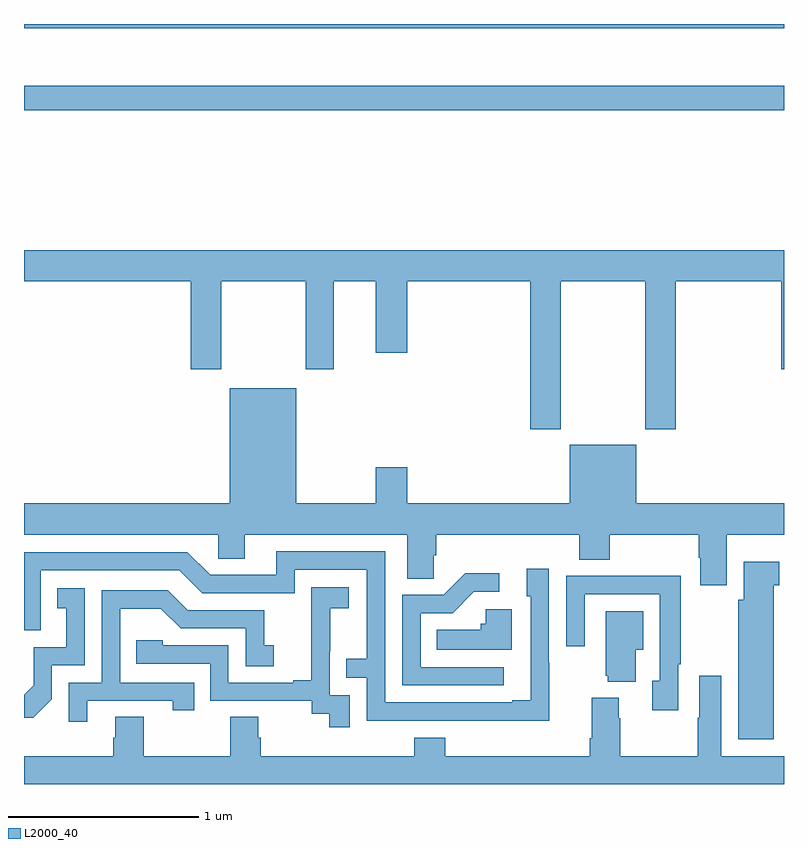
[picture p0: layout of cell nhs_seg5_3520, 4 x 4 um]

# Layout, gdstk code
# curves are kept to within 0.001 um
import gdstk
lib = gdstk.Library(unit=1e-6, precision=1e-09)
def R(c, l, rs):  # rectangles x0, y0, x1, y1
    for r in rs: c.add(gdstk.rectangle(r[:2], r[2:], *l))
def P(c, l, *ps):  # polygons
    for p in ps: c.add(gdstk.Polygon(p, *l))
L2000_40 = (2000, 40)

nhs_seg5_3520 = lib.new_cell('nhs_seg5_3520')
R(nhs_seg5_3520, L2000_40, [(319,840.346,323,840.475), (319,840.776,323,840.799)])
P(nhs_seg5_3520, L2000_40, [(321.825,839.444),(322.27,839.444),(322.27,838.665),(322.43,838.665),(322.43,839.444),(322.985,839.444),(322.985,838.983),(323,838.983),(323,839.608),(319,839.608),(319,839.444),(319.877,839.444),(319.877,838.983),(320.037,838.983),(320.037,839.444),(320.482,839.444),(320.482,838.983),(320.629,838.983),(320.629,839.444),(320.852,839.444),(320.852,839.07),(321.016,839.07),(321.016,839.444),(321.665,839.444),(321.665,838.665),(321.825,838.665)],
  [(322.699,838.112),(323,838.112),(323,838.276),(322.222,838.276),(322.222,838.585),(321.872,838.585),(321.872,838.276),(321.016,838.276),(321.016,838.465),(320.852,838.465),(320.852,838.276),(320.434,838.276),(320.434,838.882),(320.084,838.882),(320.084,838.276),(319,838.276),(319,838.112),(320.022,838.112),(320.022,837.985),(320.161,837.985),(320.161,838.112),(321.017,838.112),(321.017,837.88),(321.156,837.88),(321.156,838.003),(321.17,838.003),(321.17,838.112),(321.923,838.112),(321.923,837.979),(322.083,837.979),(322.083,838.112),(322.552,838.112),(322.552,837.991),(322.559,837.991),(322.559,837.846),(322.699,837.846)],
  [(321.765,837.437),(321.762,837.437),(321.762,837.931),(321.647,837.931),(321.647,837.786),(321.666,837.786),(321.666,837.241),(321.569,837.241),(321.569,837.228),(320.901,837.228),(320.901,838.023),(320.327,838.023),(320.327,837.9),(319.98,837.9),(319.86,838.02),(319,838.02),(319,837.609),(319.089,837.609),(319.089,837.924),(319.818,837.924),(319.938,837.804),(320.424,837.804),(320.424,837.927),(320.805,837.927),(320.805,837.458),(320.695,837.458),(320.695,837.357),(320.805,837.357),(320.805,837.132),(321.765,837.131)],
  [(322.945,837.845),(322.975,837.845),(322.975,837.97),(322.787,837.97),(322.787,837.768),(322.76,837.768),(322.76,837.035),(322.945,837.035)],
  [(321.526,837.414),(321.087,837.414),(321.087,837.699),(321.256,837.699),(321.367,837.81),(321.502,837.81),(321.502,837.908),(321.323,837.908),(321.21,837.795),(320.991,837.795),(320.991,837.318),(321.526,837.318)],
  [(322.443,837.43),(322.456,837.43),(322.456,837.896),(322.171,837.896),(322.171,837.894),(321.855,837.894),(321.855,837.525),(321.951,837.525),(321.951,837.798),(322.347,837.798),(322.347,837.342),(322.307,837.342),(322.307,837.186),(322.443,837.186)],
  [(320.715,837.267),(320.61,837.267),(320.61,837.497),(320.612,837.497),(320.612,837.725),(320.71,837.725),(320.71,837.835),(320.512,837.835),(320.512,837.629),(320.513,837.629),(320.513,837.346),(320.417,837.346),(320.417,837.333),(320.076,837.333),(320.076,837.528),(319.731,837.528),(319.731,837.555),(319.591,837.555),(319.591,837.432),(319.98,837.432),(319.98,837.237),(320.514,837.237),(320.514,837.169),(320.607,837.169),(320.607,837.099),(320.715,837.099)],
  [(319.146,837.246),(319.146,837.423),(319.32,837.423),(319.32,837.829),(319.174,837.829),(319.174,837.723),(319.223,837.723),(319.223,837.519),(319.05,837.519),(319.05,837.318),(319,837.268),(319,837.149),(319.048,837.149)],
  [(319.333,837.237),(319.784,837.237),(319.784,837.186),(319.895,837.186),(319.895,837.333),(319.506,837.333),(319.506,837.722),(319.72,837.722),(319.824,837.618),(320.166,837.618),(320.166,837.42),(320.314,837.42),(320.314,837.529),(320.265,837.529),(320.265,837.714),(319.861,837.714),(319.756,837.819),(319.41,837.819),(319.41,837.333),(319.236,837.333),(319.236,837.126),(319.333,837.126)],
  [(321.568,837.718),(321.429,837.718),(321.429,837.642),(321.403,837.642),(321.403,837.61),(321.172,837.61),(321.172,837.506),(321.568,837.506)],
  [(322.219,837.506),(322.258,837.506),(322.258,837.709),(322.061,837.709),(322.061,837.369),(322.073,837.369),(322.073,837.338),(322.219,837.338)],
  [(323,836.944),(322.669,836.944),(322.669,837.37),(322.553,837.37),(322.553,837.149),(322.546,837.149),(322.546,836.944),(322.137,836.944),(322.137,837.146),(322.129,837.146),(322.129,837.253),(321.989,837.253),(321.989,837.04),(321.977,837.04),(321.977,836.944),(321.218,836.944),(321.218,837.043),(321.053,837.043),(321.053,836.944),(320.246,836.944),(320.246,837.042),(320.233,837.042),(320.233,837.152),(320.086,837.152),(320.086,836.944),(319.629,836.944),(319.629,837.152),(319.481,837.152),(319.481,837.042),(319.469,837.042),(319.469,836.944),(319,836.944),(319,836.799),(323,836.799)])

lib.write_gds('nhs_seg5_3520.gds')
